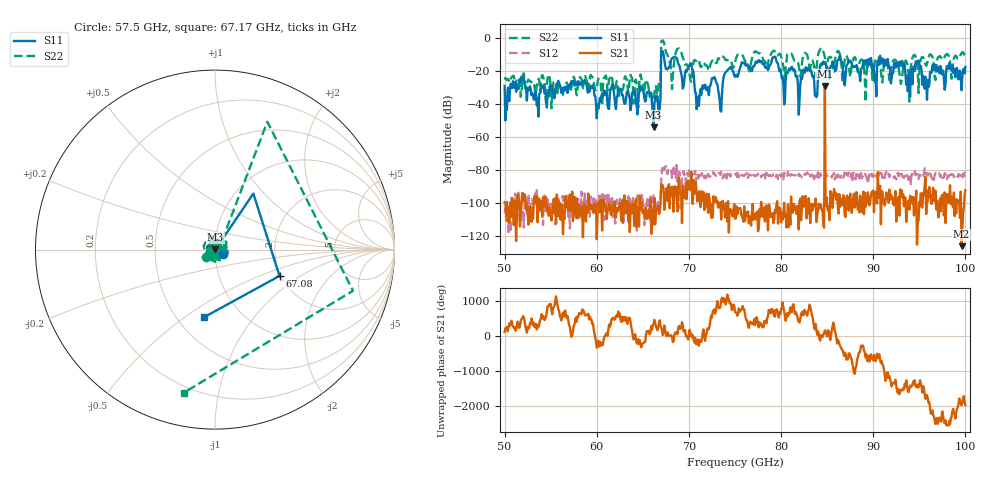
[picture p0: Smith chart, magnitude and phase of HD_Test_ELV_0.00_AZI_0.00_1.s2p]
! 11/25/2026 9:10:51 AM
! C:\ANRITSUVNA\TEMP\TEMP.S2P
! CHANNEL.1
! TR.MEASUREMENT
! RAW.DATA
# HZ S RI R 50.0
! FREQ.HZ  S11RE  S11IM  S21RE  S21IM  S12RE  S12IM  S22RE  S22IM
!; PortSelection: Port_12
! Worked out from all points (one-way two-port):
!   601 points, 50 GHz to 100 GHz, reference 50 ohm
!   highest |S21| = -29.28 dB at 84.75 GHz (marker M1); lowest = -125.9 dB at 99.58 GHz (marker M2)
!   lowest |S11| = -54.1 dB at 66.17 GHz (marker M3), VSWR 1.00, Z = 50.1 + j0.157 ohm
!   |S11| at or under -10 dB: start of sweep to 67 GHz; 67.24 GHz to end of sweep
!   |S22| runs from -42.7 to -1.8 dB; largest |S21 - S12| = 0.034
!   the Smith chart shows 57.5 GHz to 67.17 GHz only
!   S11 on the Smith chart (normalised r, x): 57.5 GHz: 1.09, -0.05; 67.08 GHz: 1.97, -0.68; 67.17 GHz: 0.67, -0.59
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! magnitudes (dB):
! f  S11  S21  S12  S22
! 50 GHz  -29.2  -99.4  -106.1  -25.3
! 57.5 GHz  -26.2  -99.9  -101.9  -23.7
! 58.42 GHz  -27.2  -105.5  -103.1  -29.0
! 60.17 GHz  -43.0  -99.8  -101.1  -24.8
! 61.67 GHz  -28.7  -103.6  -96.8  -24.5
! 66.17 GHz  -54.1  -106.0  -94.5  -35.3
! 66.67 GHz  -41.9  -101.6  -99.0  -32.1
! 67.08 GHz  -8.2  -89.9  -78.9  -1.9
! 67.17 GHz  -8.3  -89.2  -81.3  -1.8
! 70.17 GHz  -15.5  -89.9  -82.7  -25.7
! 70.92 GHz  -40.8  -98.9  -82.1  -13.3
! 75 GHz  -23.7  -109.2  -82.5  -15.0
! 79.25 GHz  -11.8  -110.0  -82.6  -7.9
! 80.25 GHz  -27.5  -106.6  -85.7  -17.7
! 81.08 GHz  -18.6  -95.9  -82.4  -9.7
! 81.83 GHz  -29.5  -104.2  -83.6  -15.0
! 83.42 GHz  -23.7  -104.3  -81.5  -13.8
! 83.83 GHz  -36.0  -111.3  -83.4  -19.5
! 84.75 GHz  -14.9  -29.3  -83.4  -11.9
! 91.67 GHz  -16.6  -99.5  -82.1  -20.5
! 99.58 GHz  -31.8  -125.9  -84.8  -9.4
! 100 GHz  -17.7  -92.1  -80.9  -12.2
